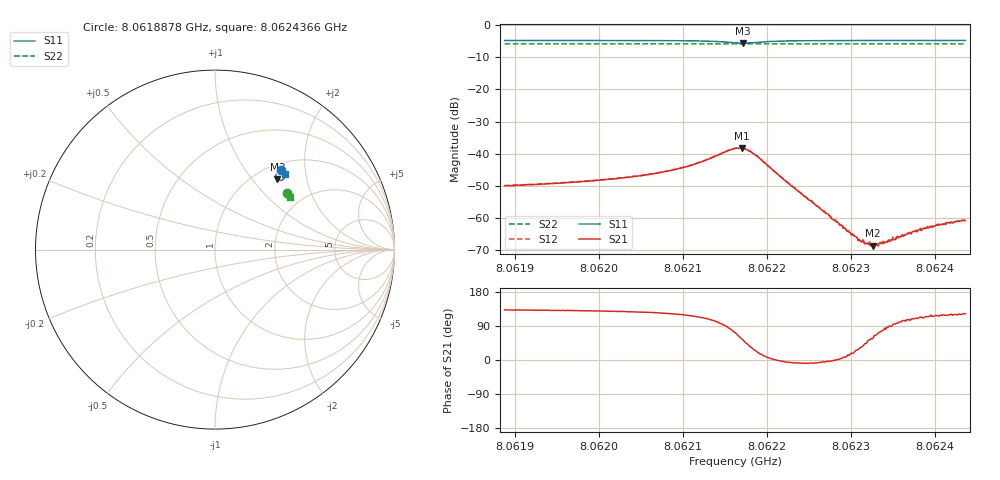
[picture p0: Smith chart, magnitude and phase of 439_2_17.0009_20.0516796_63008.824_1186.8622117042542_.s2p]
#  HZ  S  RI  R  50.00
! Rohde & Schwarz Vector Network Analyzer
! Rohde-Schwarz,ZNB20-2Port,1311601062101988,3.16
! Created: UTC 3/20/2024, 11:11:47 PM
! freq[Hz]  re:S11  im:S11  re:S21  im:S21  re:S12  im:S12  re:S22  im:S22
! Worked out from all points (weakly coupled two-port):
!   401 points, 8.0618878 GHz to 8.0624366 GHz, reference 50 ohm
!   highest |S21| = -38.22 dB at 8.0621704 GHz (marker M1); lowest = -68.5 dB at 8.0623268 GHz (marker M2)
!   lowest |S11| = -5.6 dB at 8.0621718 GHz (marker M3), VSWR 3.20, Z = 62.7 + j67.6 ohm
!   |S11| at or under -10 dB: nowhere
!   |S22| runs from -5.9 to -5.8 dB; largest |S21 - S12| = 0.00086
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8.06188777e9  0.3699 0.4418  -0.00215 0.00236  -0.00202 0.00249  0.3997 0.318
8.0619797e9  0.3766 0.4356  -0.00238 0.00283  -0.00223 0.00301  0.4033 0.3135
8.06203458e9  0.3811 0.4306  -0.00261 0.00343  -0.00243 0.0036  0.4053 0.3105
8.06207163e9  0.3845 0.4256  -0.00286 0.00419  -0.00264 0.00438  0.4066 0.3084
8.06211416e9  0.3884 0.4145  -0.00296 0.0062  -0.00258 0.00641  0.4081 0.3061
8.06216219e9  0.3641 0.3854  0.00367 0.0115  0.00443 0.0114  0.4082 0.3027
8.06217042e9  0.3494 0.3897  0.00704 0.0101  0.0075 0.00967  0.4079 0.3026
8.06217179e9  0.3474 0.3914  0.00731 0.00958  0.00801 0.00926  0.4078 0.3027
8.06217865e9  0.3399 0.402  0.00856 0.00693  0.00932 0.00656  0.408 0.303
8.06218826e9  0.3397 0.4176  0.00855 0.00355  0.00889 0.00289  0.4084 0.3032
8.06222256e9  0.3607 0.4354  0.00374 -0.000363  0.00378 -0.000604  0.4108 0.3021
8.06225412e9  0.3714 0.4347  0.00175 -0.000254  0.00181 -0.000401  0.4124 0.3005
8.06229802e9  0.3792 0.4315  0.000591 0.000125  0.000621 0.000132  0.4142 0.2981
8.06231174e9  0.3809 0.4306  0.00037 0.000237  0.000382 0.000224  0.4146 0.2974
8.06231998e9  0.382 0.4299  0.000264 0.000306  0.000275 0.000289  0.415 0.2968
8.06232684e9  0.3827 0.4294  0.000195 0.000319  0.000187 0.000341  0.4152 0.2965
8.06234056e9  0.3841 0.4286  3.95e-05 0.000415  9.08e-05 0.00041  0.4158 0.2957
8.06234605e9  0.3846 0.4282  -2.06e-08 0.000431  3.89e-05 0.00046  0.4157 0.2956
8.06236114e9  0.386 0.4271  -0.000125 0.000532  -8.15e-05 0.000538  0.4163 0.2947
8.06238858e9  0.3883 0.4255  -0.000275 0.000628  -0.000214 0.000667  0.4172 0.2934
8.06241465e9  0.3901 0.4239  -0.000394 0.000749  -0.000357 0.000738  0.4181 0.292
8.0624366e9  0.3919 0.4227  -0.000486 0.000773  -0.00045 0.000797  0.4191 0.2909
